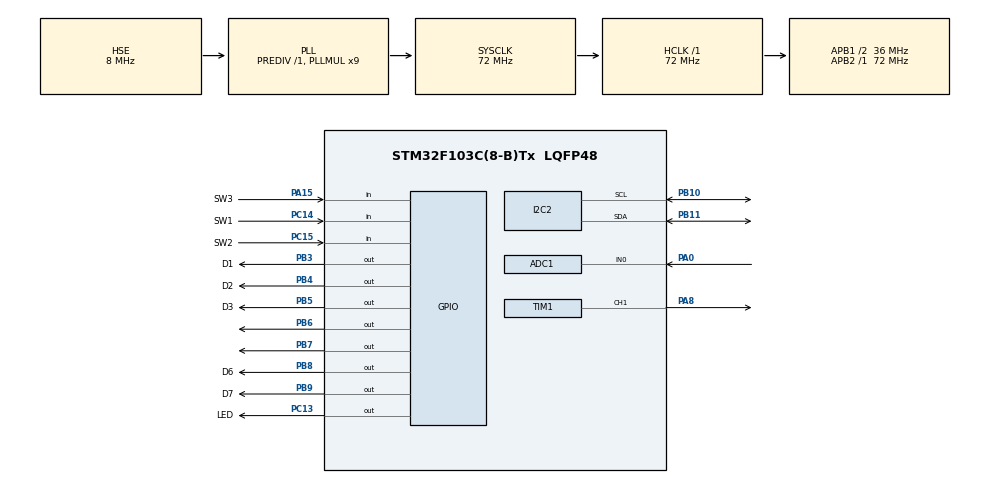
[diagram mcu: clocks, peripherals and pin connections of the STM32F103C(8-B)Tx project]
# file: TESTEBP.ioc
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ADC1.Channel-2\#ChannelRegularConversion=ADC_CHANNEL_0
ADC1.NbrOfConversionFlag=1
ADC1.Rank-2\#ChannelRegularConversion=1
ADC1.SamplingTime-2\#ChannelRegularConversion=ADC_SAMPLETIME_1CYCLE_5
ADC1.master=1
I2C2.I2C_Mode=I2C_Fast
Mcu.Family=STM32F1
Mcu.Name=STM32F103C(8-B)Tx
Mcu.Package=LQFP48
NVIC.PriorityGroup=NVIC_PRIORITYGROUP_4
PA0-WKUP.Signal=ADCx_IN0
PA13.Mode=Serial_Wire
PA13.Signal=SYS_JTMS-SWDIO
PA14.Mode=Serial_Wire
PA14.Signal=SYS_JTCK-SWCLK
PA15.GPIO_Label=SW3
PA15.GPIO_PuPd=GPIO_PULLUP
PA15.Signal=GPIO_Input
PA8.Signal=S_TIM1_CH1
PB10.Mode=I2C
PB10.Signal=I2C2_SCL
PB11.Mode=I2C
PB11.Signal=I2C2_SDA
PB3.GPIO_Label=D1
PB3.Signal=GPIO_Output
PB4.GPIO_Label=D2
PB4.Signal=GPIO_Output
PB5.GPIO_Label=D3
PB5.Signal=GPIO_Output
PB6.Signal=GPIO_Output
PB7.Signal=GPIO_Output
PB8.GPIO_Label=D6
PB8.Signal=GPIO_Output
PB9.GPIO_Label=D7
PB9.Signal=GPIO_Output
PC13-TAMPER-RTC.GPIO_Label=LED
PC13-TAMPER-RTC.Signal=GPIO_Output
PC14-OSC32_IN.GPIO_Label=SW1
PC14-OSC32_IN.GPIO_PuPd=GPIO_PULLUP
PC14-OSC32_IN.Signal=GPIO_Input
PC15-OSC32_OUT.GPIO_Label=SW2
PC15-OSC32_OUT.GPIO_PuPd=GPIO_PULLUP
PC15-OSC32_OUT.Signal=GPIO_Input
PD0-OSC_IN.Mode=HSE-External-Oscillator
PD0-OSC_IN.Signal=RCC_OSC_IN
PD1-OSC_OUT.Mode=HSE-External-Oscillator
PD1-OSC_OUT.Signal=RCC_OSC_OUT
ProjectManager.HeapSize=0x200
ProjectManager.StackSize=0x400
ProjectManager.TargetToolchain=STM32CubeIDE
RCC.ADCPresc=RCC_ADCPCLK2_DIV6
RCC.AHBFreq_Value=72000000
RCC.APB1CLKDivider=RCC_HCLK_DIV2
RCC.APB1Freq_Value=36000000
RCC.APB1TimFreq_Value=72000000
RCC.APB2Freq_Value=72000000
RCC.APB2TimFreq_Value=72000000
RCC.HCLKFreq_Value=72000000
RCC.PLLMUL=RCC_PLL_MUL9
RCC.PLLSourceVirtual=RCC_PLLSOURCE_HSE
RCC.SYSCLKFreq_VALUE=72000000
RCC.SYSCLKSource=RCC_SYSCLKSOURCE_PLLCLK
RCC.USBFreq_Value=72000000
SH.ADCx_IN0.0=ADC1_IN0,IN0
SH.S_TIM1_CH1.0=TIM1_CH1,PWM Generation1 CH1
TIM1.AutoReloadPreload=TIM_AUTORELOAD_PRELOAD_ENABLE
TIM1.Channel-PWM\ Generation1\ CH1=TIM_CHANNEL_1
TIM1.Period=65535
TIM1.Prescaler=0
VP_TIM1_VS_ClockSourceINT.Mode=Internal
board=custom

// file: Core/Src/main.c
/* USER CODE BEGIN Header */
/**
  ******************************************************************************
  * @file           : main.c
  * @brief          : Main program body
  ******************************************************************************
  * @attention
  *
  * Copyright (c) 2024 STMicroelectronics.
  * All rights reserved.
  *
  * This software is licensed under terms that can be found in the LICENSE file
  * in the root directory of this software component.
  * If no LICENSE file comes with this software, it is provided AS-IS.
  *
  ******************************************************************************
  */
/* USER CODE END Header */
#include "main.h"

/* USER CODE BEGIN Includes */
#include "ssd1306.h"
#include "ssd1306_tests.h"

/* USER CODE END Includes */

ADC_HandleTypeDef hadc1;

I2C_HandleTypeDef hi2c2;

TIM_HandleTypeDef htim1;

/* USER CODE BEGIN PV */

uint16_t readValue1;

uint16_t PWM1;
ADC_ChannelConfTypeDef sConfigPrivate = {0};
/* USER CODE END PV */

void SystemClock_Config(void);
static void MX_GPIO_Init(void);
static void MX_TIM1_Init(void);
static void MX_ADC1_Init(void);
static void MX_I2C2_Init(void);

int main(void)
{

  /* USER CODE BEGIN 1 */
	 uint16_t AD_RES = 0;
	 uint32_t CH1_DC = 0;
	  HAL_Init();
	  SystemClock_Config();
	  MX_GPIO_Init();
	  MX_ADC1_Init();
	  MX_TIM1_Init();

	  HAL_TIM_PWM_Start(&htim1, TIM_CHANNEL_1);
	  HAL_ADCEx_Calibration_Start(&hadc1);
  /* USER CODE END 1 */

  /* MCU Configuration--------------------------------------------------------*/

  /* Reset of all peripherals, Initializes the Flash interface and the Systick. */
  HAL_Init();

  /* Configure the system clock */
  SystemClock_Config();

  /* Initialize all configured peripherals */
  MX_GPIO_Init();
  MX_TIM1_Init();
  MX_ADC1_Init();
  MX_I2C2_Init();
  /* USER CODE BEGIN 2 */
  ssd1306_Init();
  /* USER CODE END 2 */

  /* Infinite loop */
  /* USER CODE BEGIN WHILE */
  while (1)
  {

	  if (HAL_GPIO_ReadPin(GPIOC, GPIO_PIN_15)==0){// toggle
	 	  		 HAL_GPIO_TogglePin(GPIOC, GPIO_PIN_13);
	 	  		 HAL_GPIO_TogglePin(GPIOB, GPIO_PIN_3 |GPIO_PIN_4 |GPIO_PIN_5 |GPIO_PIN_6 |GPIO_PIN_7
	 	  		      			 |GPIO_PIN_8 |GPIO_PIN_9);
	 	  		HAL_Delay(250);
	 	  }else {
	 		 HAL_GPIO_WritePin(GPIOC, GPIO_PIN_13,1);
	 		 HAL_GPIO_WritePin(GPIOB, GPIO_PIN_3 |GPIO_PIN_4 |GPIO_PIN_5 |GPIO_PIN_6 |GPIO_PIN_7
	 		      			 |GPIO_PIN_8 |GPIO_PIN_9,1);

	 	  }
	 	  	  if (HAL_GPIO_ReadPin(GPIOC, GPIO_PIN_14)==0){// LIGA
	 	  		HAL_GPIO_WritePin(GPIOC, GPIO_PIN_13,0);
	 	  		HAL_GPIO_WritePin(GPIOB, GPIO_PIN_3 |GPIO_PIN_4 |GPIO_PIN_5 |GPIO_PIN_6 |GPIO_PIN_7
	 	  			  			      			 |GPIO_PIN_8 |GPIO_PIN_9,0);
	 	  		  		HAL_Delay(250);
	 	  		  }if (HAL_GPIO_ReadPin(GPIOA, GPIO_PIN_15)==0){// LIGA buzzer{
	 	  			int x;
	 	  				for(x=0; x<65535; x=x+1000)
	 	  				{
	 	  				  __HAL_TIM_SET_COMPARE(&htim1,TIM_CHANNEL_1, x);
	 	  				  HAL_Delay(50);
	 	  				}
	 	  				for(x=65535; x>0; x=x-1000)
	 	  				{
	 	  				  __HAL_TIM_SET_COMPARE(&htim1,TIM_CHANNEL_1, x);
	 	  				  HAL_Delay(50);
	 	  				ssd1306_TestAll();
	 	  				}

  }
  }
    /* USER CODE END WHILE */

}

void SystemClock_Config(void)
{
  RCC_OscInitTypeDef RCC_OscInitStruct = {0};
  RCC_ClkInitTypeDef RCC_ClkInitStruct = {0};
  RCC_PeriphCLKInitTypeDef PeriphClkInit = {0};

  /** Initializes the RCC Oscillators according to the specified parameters
  * in the RCC_OscInitTypeDef structure.
  */
  RCC_OscInitStruct.OscillatorType = RCC_OSCILLATORTYPE_HSE;
  RCC_OscInitStruct.HSEState = RCC_HSE_ON;
  RCC_OscInitStruct.HSEPredivValue = RCC_HSE_PREDIV_DIV1;
  RCC_OscInitStruct.HSIState = RCC_HSI_ON;
  RCC_OscInitStruct.PLL.PLLState = RCC_PLL_ON;
  RCC_OscInitStruct.PLL.PLLSource = RCC_PLLSOURCE_HSE;
  RCC_OscInitStruct.PLL.PLLMUL = RCC_PLL_MUL9;
  if (HAL_RCC_OscConfig(&RCC_OscInitStruct) != HAL_OK)
  {
    Error_Handler();
  }

  /** Initializes the CPU, AHB and APB buses clocks
  */
  RCC_ClkInitStruct.ClockType = RCC_CLOCKTYPE_HCLK|RCC_CLOCKTYPE_SYSCLK
                              |RCC_CLOCKTYPE_PCLK1|RCC_CLOCKTYPE_PCLK2;
  RCC_ClkInitStruct.SYSCLKSource = RCC_SYSCLKSOURCE_PLLCLK;
  RCC_ClkInitStruct.AHBCLKDivider = RCC_SYSCLK_DIV1;
  RCC_ClkInitStruct.APB1CLKDivider = RCC_HCLK_DIV2;
  RCC_ClkInitStruct.APB2CLKDivider = RCC_HCLK_DIV1;

  if (HAL_RCC_ClockConfig(&RCC_ClkInitStruct, FLASH_LATENCY_2) != HAL_OK)
  {
    Error_Handler();
  }
  PeriphClkInit.PeriphClockSelection = RCC_PERIPHCLK_ADC;
  PeriphClkInit.AdcClockSelection = RCC_ADCPCLK2_DIV6;
  if (HAL_RCCEx_PeriphCLKConfig(&PeriphClkInit) != HAL_OK)
  {
    Error_Handler();
  }
}

static void MX_ADC1_Init(void)
{

  ADC_ChannelConfTypeDef sConfig = {0};

  /** Common config
  */
  hadc1.Instance = ADC1;
  hadc1.Init.ScanConvMode = ADC_SCAN_DISABLE;
  hadc1.Init.ContinuousConvMode = DISABLE;
  hadc1.Init.DiscontinuousConvMode = DISABLE;
  hadc1.Init.ExternalTrigConv = ADC_SOFTWARE_START;
  hadc1.Init.DataAlign = ADC_DATAALIGN_RIGHT;
  hadc1.Init.NbrOfConversion = 1;
  if (HAL_ADC_Init(&hadc1) != HAL_OK)
  {
    Error_Handler();
  }

  /** Configure Regular Channel
  */
  sConfig.Channel = ADC_CHANNEL_0;
  sConfig.Rank = ADC_REGULAR_RANK_1;
  sConfig.SamplingTime = ADC_SAMPLETIME_1CYCLE_5;
  if (HAL_ADC_ConfigChannel(&hadc1, &sConfig) != HAL_OK)
  {
    Error_Handler();
  }

}

static void MX_I2C2_Init(void)
{

  hi2c2.Instance = I2C2;
  hi2c2.Init.ClockSpeed = 400000;
  hi2c2.Init.DutyCycle = I2C_DUTYCYCLE_2;
  hi2c2.Init.OwnAddress1 = 0;
  hi2c2.Init.AddressingMode = I2C_ADDRESSINGMODE_7BIT;
  hi2c2.Init.DualAddressMode = I2C_DUALADDRESS_DISABLE;
  hi2c2.Init.OwnAddress2 = 0;
  hi2c2.Init.GeneralCallMode = I2C_GENERALCALL_DISABLE;
  hi2c2.Init.NoStretchMode = I2C_NOSTRETCH_DISABLE;
  if (HAL_I2C_Init(&hi2c2) != HAL_OK)
  {
    Error_Handler();
  }

}

static void MX_TIM1_Init(void)
{

  TIM_ClockConfigTypeDef sClockSourceConfig = {0};
  TIM_MasterConfigTypeDef sMasterConfig = {0};
  TIM_OC_InitTypeDef sConfigOC = {0};
  TIM_BreakDeadTimeConfigTypeDef sBreakDeadTimeConfig = {0};

  htim1.Instance = TIM1;
  htim1.Init.Prescaler = 0;
  htim1.Init.CounterMode = TIM_COUNTERMODE_UP;
  htim1.Init.Period = 65535;
  htim1.Init.ClockDivision = TIM_CLOCKDIVISION_DIV1;
  htim1.Init.RepetitionCounter = 0;
  htim1.Init.AutoReloadPreload = TIM_AUTORELOAD_PRELOAD_ENABLE;
  if (HAL_TIM_Base_Init(&htim1) != HAL_OK)
  {
    Error_Handler();
  }
  sClockSourceConfig.ClockSource = TIM_CLOCKSOURCE_INTERNAL;
  if (HAL_TIM_ConfigClockSource(&htim1, &sClockSourceConfig) != HAL_OK)
  {
    Error_Handler();
  }
  if (HAL_TIM_PWM_Init(&htim1) != HAL_OK)
  {
    Error_Handler();
  }
  sMasterConfig.MasterOutputTrigger = TIM_TRGO_RESET;
  sMasterConfig.MasterSlaveMode = TIM_MASTERSLAVEMODE_DISABLE;
  if (HAL_TIMEx_MasterConfigSynchronization(&htim1, &sMasterConfig) != HAL_OK)
  {
    Error_Handler();
  }
  sConfigOC.OCMode = TIM_OCMODE_PWM1;
  sConfigOC.Pulse = 0;
  sConfigOC.OCPolarity = TIM_OCPOLARITY_HIGH;
  sConfigOC.OCNPolarity = TIM_OCNPOLARITY_HIGH;
  sConfigOC.OCFastMode = TIM_OCFAST_DISABLE;
  sConfigOC.OCIdleState = TIM_OCIDLESTATE_RESET;
  sConfigOC.OCNIdleState = TIM_OCNIDLESTATE_RESET;
  if (HAL_TIM_PWM_ConfigChannel(&htim1, &sConfigOC, TIM_CHANNEL_1) != HAL_OK)
  {
    Error_Handler();
  }
  sBreakDeadTimeConfig.OffStateRunMode = TIM_OSSR_DISABLE;
  sBreakDeadTimeConfig.OffStateIDLEMode = TIM_OSSI_DISABLE;
  sBreakDeadTimeConfig.LockLevel = TIM_LOCKLEVEL_OFF;
  sBreakDeadTimeConfig.DeadTime = 0;
  sBreakDeadTimeConfig.BreakState = TIM_BREAK_DISABLE;
  sBreakDeadTimeConfig.BreakPolarity = TIM_BREAKPOLARITY_HIGH;
  sBreakDeadTimeConfig.AutomaticOutput = TIM_AUTOMATICOUTPUT_DISABLE;
  if (HAL_TIMEx_ConfigBreakDeadTime(&htim1, &sBreakDeadTimeConfig) != HAL_OK)
  {
    Error_Handler();
  }
  HAL_TIM_MspPostInit(&htim1);

}

static void MX_GPIO_Init(void)
{
  GPIO_InitTypeDef GPIO_InitStruct = {0};

  /* GPIO Ports Clock Enable */
  __HAL_RCC_GPIOC_CLK_ENABLE();
  __HAL_RCC_GPIOD_CLK_ENABLE();
  __HAL_RCC_GPIOA_CLK_ENABLE();
  __HAL_RCC_GPIOB_CLK_ENABLE();

  /*Configure GPIO pin Output Level */
  HAL_GPIO_WritePin(LED_GPIO_Port, LED_Pin, GPIO_PIN_RESET);

  /*Configure GPIO pin Output Level */
  HAL_GPIO_WritePin(GPIOB, D1_Pin|D2_Pin|D3_Pin|GPIO_PIN_6
                          |GPIO_PIN_7|D6_Pin|D7_Pin, GPIO_PIN_RESET);

  /*Configure GPIO pin : LED_Pin */
  GPIO_InitStruct.Pin = LED_Pin;
  GPIO_InitStruct.Mode = GPIO_MODE_OUTPUT_PP;
  GPIO_InitStruct.Pull = GPIO_NOPULL;
  GPIO_InitStruct.Speed = GPIO_SPEED_FREQ_LOW;
  HAL_GPIO_Init(LED_GPIO_Port, &GPIO_InitStruct);

  /*Configure GPIO pins : SW1_Pin SW2_Pin */
  GPIO_InitStruct.Pin = SW1_Pin|SW2_Pin;
  GPIO_InitStruct.Mode = GPIO_MODE_INPUT;
  GPIO_InitStruct.Pull = GPIO_PULLUP;
  HAL_GPIO_Init(GPIOC, &GPIO_InitStruct);

  /*Configure GPIO pin : SW3_Pin */
  GPIO_InitStruct.Pin = SW3_Pin;
  GPIO_InitStruct.Mode = GPIO_MODE_INPUT;
  GPIO_InitStruct.Pull = GPIO_PULLUP;
  HAL_GPIO_Init(SW3_GPIO_Port, &GPIO_InitStruct);

  /*Configure GPIO pins : D1_Pin D2_Pin D3_Pin PB6
                           PB7 D6_Pin D7_Pin */
  GPIO_InitStruct.Pin = D1_Pin|D2_Pin|D3_Pin|GPIO_PIN_6
                          |GPIO_PIN_7|D6_Pin|D7_Pin;
  GPIO_InitStruct.Mode = GPIO_MODE_OUTPUT_PP;
  GPIO_InitStruct.Pull = GPIO_NOPULL;
  GPIO_InitStruct.Speed = GPIO_SPEED_FREQ_LOW;
  HAL_GPIO_Init(GPIOB, &GPIO_InitStruct);

}

void Error_Handler(void)
{
  __disable_irq();
  while (1)
  {
  }
}
